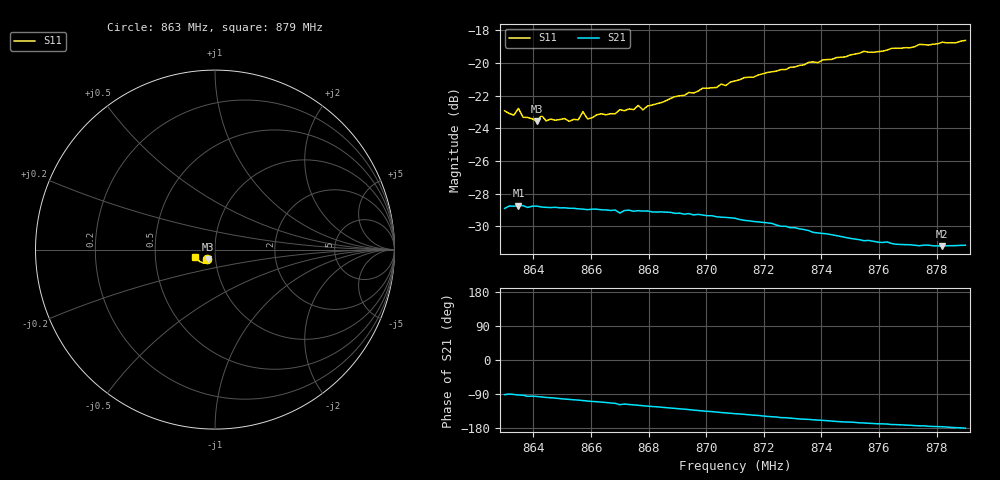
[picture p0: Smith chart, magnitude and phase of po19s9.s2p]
# HZ S RI R 50
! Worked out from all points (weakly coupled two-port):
!   101 points, 863 MHz to 879 MHz, reference 50 ohm
!   highest |S21| = -28.73 dB at 863.48 MHz (marker M1); lowest = -31.2 dB at 878.2 MHz (marker M2)
!   lowest |S11| = -23.6 dB at 864.12 MHz (marker M3), VSWR 1.14, Z = 45.9 - j4.88 ohm
!   |S11| at or under -10 dB: start of sweep to end of sweep
!   S12 and S22 are empty: the file has one direction only
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8.63e8  -0.0459 -0.0546  -0.000887 -0.0359  0 0  0 0
8.6332e8  -0.0441 -0.0533  -0.000568 -0.0364  0 0  0 0
8.6348e8  -0.048 -0.0545  -0.00148 -0.0366  0 0  0 0
8.6364e8  -0.041 -0.0545  -0.0019 -0.0365  0 0  0 0
8.6412e8  -0.0398 -0.0529  -0.00402 -0.0363  0 0  0 0
8.6428e8  -0.0394 -0.0568  -0.0047 -0.0359  0 0  0 0
8.6444e8  -0.0387 -0.054  -0.00551 -0.0357  0 0  0 0
8.6556e8  -0.0363 -0.0563  -0.0097 -0.0344  0 0  0 0
8.6572e8  -0.039 -0.0593  -0.0105 -0.0341  0 0  0 0
8.6588e8  -0.0357 -0.0571  -0.0111 -0.0338  0 0  0 0
8.6636e8  -0.0369 -0.0593  -0.0128 -0.0332  0 0  0 0
8.6684e8  -0.0346 -0.0607  -0.0146 -0.0324  0 0  0 0
8.67e8  -0.0376 -0.0613  -0.0163 -0.0307  0 0  0 0
8.6748e8  -0.0348 -0.063  -0.0168 -0.0309  0 0  0 0
8.6764e8  -0.0367 -0.0644  -0.0174 -0.0307  0 0  0 0
8.678e8  -0.0356 -0.0623  -0.0179 -0.0303  0 0  0 0
8.6844e8  -0.0373 -0.0657  -0.0199 -0.0288  0 0  0 0
8.71e8  -0.0497 -0.0726  -0.0263 -0.0207  0 0  0 0
8.7372e8  -0.069 -0.0733  -0.0281 -0.0115  0 0  0 0
8.7644e8  -0.0925 -0.0608  -0.0276 -0.00471  0 0  0 0
8.782e8  -0.1057 -0.0469  -0.0275 -0.00185  0 0  0 0
8.79e8  -0.1103 -0.0392  -0.0277 -4.9e-05  0 0  0 0
